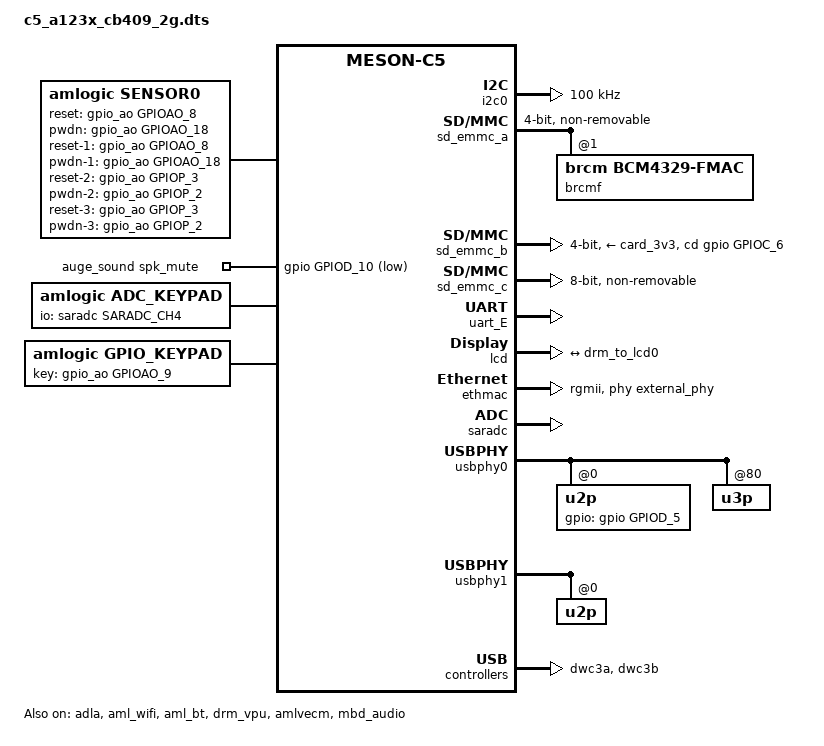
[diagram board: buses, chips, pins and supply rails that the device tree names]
// SPDX-License-Identifier: (GPL-2.0+ OR MIT)
/*
 * Copyright (c) 2019 Amlogic, Inc. All rights reserved.
 */

/dts-v1/;

#include "meson-c5.dtsi"
//#include "hdr10plus.dtsi"
#include "mesonc5_drm.dtsi"
#include "mesonc5_audio.dtsi"
//#include "firmware_ab.dtsi"
#include "meson-c5-panel.dtsi"

/ {
	amlogic-dt-id = "c5_a123x_cb409-2g";
	compatible = "c5_a123x_cb409-2g";
	interrupt-parent = <&gic>;
	#address-cells = <2>;
	#size-cells = <2>;

	aliases {
		serial0 = &uart_AO_B;
		serial1 = &uart_E;
		serial2 = &uart_B;
		serial3 = &uart_C;
		serial4 = &uart_D;
		serial5 = &uart_F;
		serial6 = &uart_AO_A;
		i2c0 = &i2c0;
		i2c1 = &i2c1;
		i2c2 = &i2c2;
		i2c3 = &i2c3;
		i2c4 = &i2c4;
		i2c5 = &i2c5;
		i2c6 = &i2c6;
		spi0 = &spi_nfc;
		spi1 = &spisg_b;
		spi2 = &spisg_c;
		spi3 = &spisg_d;
		tsensor0 = &nna_tsensor;
		tsensor1 = &isp_tsensor;
		tsensor2 = &pll_tsensor;
	};

	memory@0 {
		device_type = "memory";
		linux,usable-memory = <0x0 0x0 0x0 0x80000000>;
	};

	reserved-memory {
		#address-cells = <2>;
		#size-cells = <2>;
		ranges;

		ramdump_bl33z {
			compatible = "shared-dma-pool";
			size = <0x0 0x01800000>;
			alignment = <0x0 0x400000>;
			alloc-ranges = <0x0 0x05000000 0x0 0x07000000>;
			linux,contiguous-region;
			no-map;
			status = "disabled";
		};

		secmon_reserved:linux,secmon {
			compatible = "shared-dma-pool";
			no-map;
			alignment = <0x0 0x100000>;
			reg = <0x0 0x05000000 0x0 0x00b00000>;
		};

		nna_cma_reserved: linux,nna_cma {
			compatible = "shared-dma-pool";
			size = <0x0 0x1000000>;
			alignment = <0x0 0x400000>;
			reusable;
			status = "disabled";
		};

		logo_reserved:linux,meson-fb {
			compatible = "amlogic, meson-fb";
			alignment = <0x0 0x400000>;
			reg = <0x0 0x7f800000 0x0 0x800000>;
			status = "disabled";
		};

		ion_cma_reserved:linux,ion-dev {
			compatible = "shared-dma-pool";
			reusable;
			size = <0x0 0x3000000>;
			alignment = <0x0 0x400000>;
			status = "disabled";
		};

		rtos_reserved:linux,rtos_reserved {
			compatible = "amlogic, aml_rtos_memory";
			status = "disabled";
			reg = <0x0 0x4800000 0x0 0x200000>;
			no-map;
		};

		dsp_fw_reserved:linux,dsp_fw {
			compatible = "amlogic, dsp";
			size = <0x0 0x800000>;
			reg = <0x0 0x30000000 0x0 0x800000>;
			status = "disabled";
		};

		ramoops@8400000 {
			compatible = "ramoops";
			status = "okay";
			reg = <0x0 0x08400000 0x0 0x00100000>;
			record-size = <0x20000>;
			console-size = <0x20000>;
			ftrace-size = <0x80000>;
			pmsg-size = <0x0>;
		};

		dmc_reserved:linux,dmc_monitor {
			compatible = "amlogic,dmc_monitor-reserved";
			reg = <0x0 0x0 0x0 0x0>;
			status = "disabled";
		};

		debug_reserved:linux,iotrace {
			compatible = "amlogic, iotrace";
			reg = <0x0 0x04f00000 0x0 0x00100000>;
			io-size = <0x1b000>;
			sched-size = <0x2000>;
			irq-size = <0x1000>;
			smc-size = <0x1000>;
			misc-size = <0x1000>;
			status = "disabled";
		};

		pmz_cma_a1_reserved:anonymous {
			compatible = "shared-dma-pool";
			no-map;
			size = <0x0 0x15E00000>;
			alignment = <0x0 0x400000>;
			status = "okay";
		};

		pmz_cma_a2_reserved:user_pmz {
			compatible = "shared-dma-pool";
			no-map;
			size = <0x0 0x1000000>;
			alignment = <0x0 0x400000>;
			status = "disabled";
		};

		codec_mm_cma:linux,codec_mm_cma {
			compatible = "shared-dma-pool";
			reusable;
			/* ion_codec_mm max can alloc size 80M*/
			size = <0x0 0xD000000>;
			alignment = <0x0 0x400000>;
			linux,contiguous-region;
			status = "disabled";
		};

		/* codec shared reserved */
		codec_mm_reserved:linux,codec_mm_reserved {
			compatible = "amlogic, codec-mm-reserved";
			size = <0x0 0x0>;
			alignment = <0x0 0x100000>;
			//no-map;
			status = "disabled";
		};

		jpegenc_cma_reserved:linux,jpegenc_cma {
			compatible = "shared-dma-pool";
			reusable;
			size = <0x0 0x0>;
			alignment = <0x0 0x400000>;
			status = "disabled";
		};

		/* global autoconfigured region for contiguous allocations */
		linux,cma {
			compatible = "shared-dma-pool";
			reusable;
			size = <0x0 0x800000>;
			alignment = <0x0 0x400000>;
			linux,cma-default;
			status = "disabled";
		};

		pcie_dma_ops_mm:linux,pcie_dma_ops {
			compatible = "shared-dma-pool";
			status = "disabled";
			reusable;
			size = <0x0 0x2000000>;
			swiotlb-size = <0x0 0x1c00000>;
			atomic-size = <0x0 0x40000>;
			alignment = <0x0 0x400000>;
			alloc-ranges = <0x0 0x0 0x0 0xe0000000>;
		};
	};

	sensor0: sensor0 {
		compatible = "amlogic, sensor0";
		status = "okay";
		clocks = <&clkc CLKID_MCLK_0>, <&clkc CLKID_MCLK_1>,
			 <&clkc CLKID_MCLK1_0>, <&clkc CLKID_MCLK1_1>;
		clock-names = "mclk", "mclk1", "mclk2", "mclk3";
		devices-type = <1>;
		reset-gpios = <&gpio_ao GPIOAO_8 GPIO_ACTIVE_HIGH>;
		pwdn-gpios = <&gpio_ao GPIOAO_18 GPIO_ACTIVE_HIGH>;
		reset-1-gpios = <&gpio_ao GPIOAO_8 GPIO_ACTIVE_HIGH>;
		pwdn-1-gpios = <&gpio_ao GPIOAO_18 GPIO_ACTIVE_HIGH>;
		reset-2-gpios = <&gpio_ao GPIOP_3 GPIO_ACTIVE_HIGH>;
		pwdn-2-gpios = <&gpio_ao GPIOP_2 GPIO_ACTIVE_HIGH>;
		reset-3-gpios = <&gpio_ao GPIOP_3 GPIO_ACTIVE_HIGH>;
		pwdn-3-gpios = <&gpio_ao GPIOP_2 GPIO_ACTIVE_HIGH>;
	};

	pmz_a1_dev {
		compatible = "amlogic, pmz_dev";
		memory-region = <&pmz_cma_a1_reserved>;
		pmz-allocator = "priv";
	};

/* Audio Related start */
	auge_sound {
		compatible = "amlogic, auge-sound-card";
		aml-audio-card,name = "AML-AUGESOUND";
		spk_mute-gpios = <&gpio GPIOD_10 GPIO_ACTIVE_LOW>;
		spk_mute_sleep_time = <800>;

		aml-audio-card,dai-link@0 {
			format = "dsp_b";
			mclk-fs = <512>;
			//continuous-clock;
			//bitclock-inversion;
			//frame-inversion;
			/* master mode */
			bitclock-master = <&tdma>;
			frame-master = <&tdma>;
			/* slave mode */
			/*
			 * bitclock-master = <&tdmacodec>;
			 * frame-master = <&tdmacodec>;
			 */
			/* suffix-name, sync with android audio hal used for */
			suffix-name = "alsaPORT-pcm";
			tdmacpu: cpu {
				sound-dai = <&tdma>;
				dai-tdm-slot-tx-mask =
							<1 1>;
				dai-tdm-slot-rx-mask =
							<1 1>;
				dai-tdm-slot-num = <2>;
				dai-tdm-slot-width = <16>;
				system-clock-frequency = <256000>;
			};
			tdmacodec: codec {
				sound-dai = <&dummy_codec>;
			};
		};

		aml-audio-card,dai-link@1 {
			format = "i2s";
			mclk-fs = <256>;
			continuous-clock;
			//bitclock-inversion;
			//frame-inversion;
			/* master mode */
			bitclock-master = <&tdmb>;
			frame-master = <&tdmb>;
			/* slave mode */
			//bitclock-master = <&tdmbcodec>;
			//frame-master = <&tdmbcodec>;
			/* suffix-name, sync with android audio hal used for */
			suffix-name = "alsaPORT-i2s";
			cpu {
				sound-dai = <&tdmb>;
				dai-tdm-slot-tx-mask = <1 1>;
				dai-tdm-slot-rx-mask = <1 1>;
				dai-tdm-slot-num = <2>;
				dai-tdm-slot-width = <32>;
				system-clock-frequency = <12288000>;
			};
			tdmbcodec: codec {
				sound-dai = <&acodec>;
			};
		};

		aml-audio-card,dai-link@2 {
			mclk-fs = <64>;
			/* suffix-name, sync with android audio hal used for */
			suffix-name = "alsaPORT-pdm-builtinmic";
			cpu {
				sound-dai = <&pdma>;
			};
			codec {
				sound-dai = <&dummy_codec>;
			};
		};

		aml-audio-card,dai-link@3 {
			mclk-fs = <256>;
			continuous-clock;
			suffix-name = "alsaPORT-loopback";
			cpu {
				sound-dai = <&loopbacka>;
				system-clock-frequency = <12288000>;
			};
			codec {
				sound-dai = <&dummy_codec>;
			};
		};
		//aml-audio-card,dai-link@4 {
		//	mclk-fs = <256>;
		//	suffix-name = "alsaPORT-Sed";
		//	cpu {
		//		sound-dai = <&sed>;
		//	};
		//	codec {
		//		sound-dai = <&dummy_codec>;
		//	};
		//};
	};
	/* Audio Related end */
	picdec {
		compatible = "amlogic, picdec";
		status = "disabled";
	};

	adc_keypad {
		compatible = "amlogic, adc_keypad";
		status = "okay";
		key_name = "update", "vol-", "vol+", "ok";
		key_num = <4>;
		io-channels = <&saradc SARADC_CH4>;
		io-channel-names = "key-chan-4";
		key_chan = <SARADC_CH4 SARADC_CH4 SARADC_CH4 SARADC_CH4>;
		key_code = <KEY_SETUP KEY_VOLUMEDOWN KEY_VOLUMEUP KEY_ENTER>;
		key_val = <0 252 468 684>;	// Unit: millivolt
		key_tolerance = <70 70 70 70>;	// Unit: millivolt
	};

	gpio_keypad {
		compatible = "amlogic, gpio_keypad";
		status = "okay";
		scan_period = <20>;
		key_num = <1>;
		key_name = "power";
		key_code = <KEY_ENTER>;
		key_type = <EV_KEY>;
		key-gpios = <&gpio_ao GPIOAO_9 GPIO_ACTIVE_HIGH>;
		amlogic,auto-bias-cfg;
		/* 0:polling mode, 1:irq mode */
		detect_mode = <0>;
	};
};

&periphs_pinctrl {
	/* Audio Related start */
		tdmout_a: tdmout_a {
		mux { /* GPIOX_11, GPIOX_10, GPIOX_9 */
			groups = "tdm_a_sclk",
				"tdm_a_fs",
				"tdm_a_dout0";
			function = "tdm_a";
		};
	};

	tdmin_a: tdmin_a {
		mux { /* GPIOX_8 */
			groups = "tdm_a_din1";
			function = "tdm_a";
		};
	};

	tdmb_mclk: tdmb_mclk {
		mux {
			groups = "mclk_0";
			function = "mclk_0";
			drive-strength = <2>;
		};
	};

	tdmout_b: tdmout_b {
		mux { /* GPIOA_1, GPIOA_2, GPIOA_3 */
			groups = "tdm_b_sclk",
				"tdm_b_fs",
				"tdm_b_dout0";
			function = "tdm_b";
			drive-strength = <2>;
		};
	};

	tdmin_b:tdmin_b {
		mux { /* GPIOA_7 */
			groups = "tdm_b_din0";
			function = "tdm_b";
			drive-strength = <2>;
		};
	};

	spdifin: spdifin {
		mux {/* GPIOF_6 */
			groups = "spdif_in_f6";
			function = "spdif_in";
		};
	};
	/* Audio Related end */
};

&vdd_npu2_sram {
	status = "okay";
};

&vdd_npu3_sram {
	status = "okay";
};

&i2c0 {
	status = "okay";
	pinctrl-names = "default", "sleep";
	pinctrl-0 = <&i2c0_ao_pins1>;
	pinctrl-1 = <&i2c0_ao_pins1_sleep>;
	clock-frequency = <100000>; /* default 100k */
};

&i2c2 {
	status = "disabled";
	pinctrl-names = "default", "sleep";
	pinctrl-0 = <&i2c2_ao_pins1>;
	pinctrl-1 = <&i2c2_ao_pins1_sleep>;
	clock-frequency = <100000>; /* default 100k */
};

&i2c3 {
	status = "disabled";
	pinctrl-names = "default", "sleep";
	pinctrl-0 = <&i2c3_pins2>;
	pinctrl-1 = <&i2c3_pins2_sleep>;
	clock-frequency = <100000>; /* default 100k */
};

&adla {
	status = "okay";
	//memory-region = <&nna_cma_reserved>;
};

/* SDIO */
&sd_emmc_a {
	status = "okay";
	pinctrl-0 = <&sdio_pins>;
	pinctrl-1 = <&sdio_clk_gate_pins>;
	pinctrl-names = "default", "clk-gate";
	#address-cells = <1>;
	#size-cells = <0>;

	bus-width = <4>;
	cap-sd-highspeed;
	sd-uhs-sdr50;
	sd-uhs-sdr104;
	max-frequency = <200000000>;

	non-removable;
	disable-wp;

	//vmmc-supply = <&vddao_3v3>;
	//vqmmc-supply = <&vddio_ao1v8>;

	brcmf: wifi@1 {
		reg = <1>;
		compatible = "brcm,bcm4329-fmac";
	};
};

/* SD card */
&sd_emmc_b {
	status = "okay";
	pinctrl-0 = <&sdcard_pins>;
	pinctrl-1 = <&sdcard_clk_gate_pins>;
	pinctrl-2 = <&sd_1bit_pins>;
	pinctrl-names = "sd_default",
			"clk-gate",
			"sd_1bit_pins";
	bus-width = <4>;
	cap-sd-highspeed;
	sd-uhs-sdr104;
	max-frequency = <200000000>;
	disable-wp;

	cd-gpios = <&gpio GPIOC_6 GPIO_ACTIVE_HIGH>;
	vmmc-supply = <&card_3v3>;
	vqmmc-supply = <&vddio_c>;
};

&sd_emmc_c {
	status = "okay";
	pinctrl-0 = <&emmc_pins>, <&emmc_ds_pins>;
	pinctrl-1 = <&emmc_clk_gate_pins>;
	pinctrl-names = "default", "clk-gate";

	bus-width = <8>;
	cap-mmc-highspeed;
	//mmc-ddr-1_8v;
	mmc-hs200-1_8v;
	mmc-hs400-1_8v;
	mmc-hs400-enhanced-strobe;
	max-frequency = <200000000>;
	non-removable;
	disable-wp;

	//mmc-pwrseq = <&emmc_pwrseq>;
	//vmmc-supply = <&vddao_3v3>;
	//vqmmc-supply = <&vddao_1v8>;
};

&pdma {
	pinctrl-names = "pdm_pins";
	pinctrl-0 = <&pdmin>;
};

&aml_wifi {
	status = "okay";
	interrupt-gpios = <&gpio_ao  GPIOAO_13  GPIO_ACTIVE_HIGH>;
	power_on-gpios = <&gpio_ao   GPIOAO_17  GPIO_ACTIVE_HIGH>;
};

&aml_bt {
	status = "okay";
};

&uart_E {
	status = "okay";
};

&mtd_nand {
	status = "disabled";
	#address-cells = <1>;
	#size-cells = <0>;

	pinctrl-names = "nand_norb_mod","nand_cs_only";
	pinctrl-0 = <&all_nand_pins>;
	pinctrl-1 = <&nand_cs_pins>;
	bl_mode = <1>;
	fip_copies = <4>;
	fip_size = <0x200000>;
	ship_bad_block = <1>;
	disa_irq_flag = <1>;
	nand@bootloader {
		reg = <0>;
		#address-cells = <1>;
		#size-cells = <1>;
		nand-ecc-maximize;
		partition@0 {
			label = "bootloader";
			reg = <0x0 0x00000000>;
		};
	};
	nand@normal {
		reg = <0>;
		#address-cells = <1>;
		#size-cells = <1>;
		nand-ecc-maximize;

		partition@0 {
			label = "tpl";
			reg = <0x0 0x00000000>;
		};
		partition@2 {
			label = "recovery";
			reg = <0x0 0x2000000>;
		};
		partition@3 {
			label = "boot";
			reg = <0x0 0x2000000>;
		};
		partition@4 {
			label = "system";
			reg = <0x0 0x13000000>;
		};
		partition@5 {
			label = "data";
			reg = <0x0 0xffffffff>;
		};
	};
};

&isp0 {
	assigned-clocks = <&clkc CLKID_MCLK_PLL>, <&clkc CLKID_MCLK_0_PRE>,
			  <&clkc CLKID_MCLK_1_PRE>,  <&clkc CLKID_MCLK1_PLL>,
			  <&clkc CLKID_MCLK1_0_PRE>, <&clkc CLKID_MCLK1_1_PRE>;
	assigned-clock-rates = <2376000000>, <74250000>, <74250000>,
			       <2376000000>, <74250000>, <74250000>;
};

&spi_nfc {
	status = "disabled";
	pinctrl-names = "default";
	pinctrl-0 = <&spinf_pins>;
	spi-nand@0 {
		compatible = "spi-nand";
		status = "disabled";
		reg = <0>;
		spi-max-frequency = <83000000>;
		spi-tx-bus-width = <4>;
		spi-rx-bus-width = <4>;
	};
	spi-nor@0 {
		compatible = "spi-nor";
		status = "disabled";
		reg = <0>;
		spi-tx-bus-width = <4>;
		spi-rx-bus-width = <4>;
		spi-max-frequency = <83000000>;
		m25p,fast-read;
		/* partition info sram addr */
		param_sram_addr = <0xF3D36800>;
		param_sram_size = <0x400>;
	};
};

&drm_vpu {
	status = "okay";
	logo_addr = "0x3f800000";
	connectors_dev: port@1 {
		drm_to_lcd0: endpoint@1 {
			reg = <1>;
			remote-endpoint = <&lcd0_to_drm>;
		};
	};
};

&lcd {
	ports {
		port {
			#address-cells = <1>;
			#size-cells = <0>;
			lcd0_to_drm: endpoint@0 {
				reg = <0>;
				remote-endpoint = <&drm_to_lcd0>;
			};
		};
	};
};

&ethmac {
	status = "okay";
	pinctrl-0 = <&eth_pins>, <&eth_rgmii_pins>;
	pinctrl-names = "default";
	phy-mode = "rgmii";
	phy-handle = <&external_phy>;
	mc_val = <0x1621>;
	cali_val = <0x80000>;
	/* 1:inphy; 2:exphy; */
	internal_phy = <2>;
};

&saradc {
	status = "okay";
};

&freertos {
	status = "disabled";
};

&amlvecm {
	compatible = "amlogic, vecm-c5";
	dev_name = "aml_vecm";
	status = "okay";
	gamma_en = <0>;/*1:enable ;0:disable*/
	wb_en = <0>;/*1:enable ;0:disable*/
	vlock_en = <0>;/*1:enable;0:disable*/
};

&ir {
	status = "disabled";
	pinctrl-0 = <&remote_pins>;
	pinctrl-names = "default";
};

&usbphy0 {
		status = "okay";
		u2p@0 {
			status = "okay";
			gpio-vbus-power = "GPIOD_5";
			gpios = <&gpio GPIOD_5 GPIO_ACTIVE_HIGH>;
		};
		u3p@80 {
				status = "okay";
		};
};

&usbphy1 {
		status = "okay";
		u2p@0 {
				status = "okay";
		};
};

&dwc3otg1 {
		status = "disabled";
		dr_mode = "otg"; /*otg, host,peripheral */
		controller-type = <1>; /*3:otg, 1: host,2:peripheral */
};

&dwc3otg2 {
		status = "disabled";
		dr_mode = "otg"; /*otg, host,peripheral */
		controller-type = <1>; /*3:otg, 1: host,2:peripheral */
};

&dwc3a {
		status = "okay";
};

&dwc3b {
		status = "okay";
};

&spisg_b {
	status = "disabled";
	pinctrl-names = "default";
	pinctrl-0 = <&spisg_b_pins_x>;
};

/*don't enable alsa config if mbd driver load*/
&mbd_audio {
	avout_mute-gpios = <&gpio GPIOD_10 GPIO_ACTIVE_HIGH>;
	// hp_mute-gpios = <&gpio GPIOD_10 GPIO_ACTIVE_HIGH>;
	pinctrl-names = "mbd_audio_pins";
	pinctrl-0 = <&pdmin>;
	status = "okay";
};

&pcie_phy {
	status = "disabled";
};

&pcie {
	reset-gpio = <&gpio_ao GPIOF_5 GPIO_ACTIVE_HIGH>;
	max-link-speed=<2>;
	iommu-map = <0x100 &smmu 0x5 0x400>;
	status = "disable";
};
